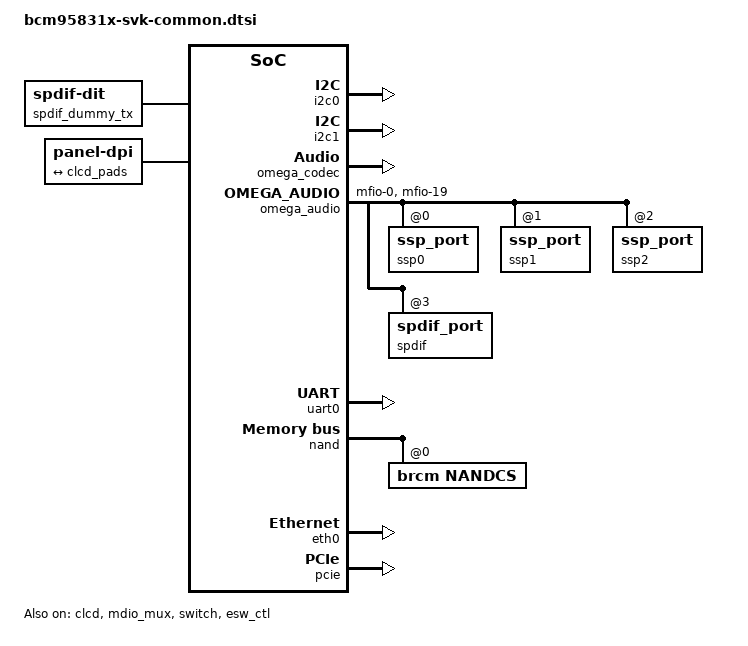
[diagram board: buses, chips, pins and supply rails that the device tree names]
// SPDX-License-Identifier: (GPL-2.0 or BSD-3-Clause)
/*
 *  Copyright(c) 2018 Broadcom
 */
#include "bcmlcddc.dtsi"

/ {
	sound {
		compatible = "brcm,omega-svk-machine";
		status = "okay";

		brcm,audio-routing =
			/* Outputs */
			"SVK Handsfree", "LSPK_OUT",
			"SVK Handset Earpiece", "EP_OUT",
			"SVK Headset Speaker", "EP_OUT2",
			"SVK Headphone jack", "HS_OUT_L",
			"SVK Headphone jack", "HS_OUT_R",

			/* Inputs */
			"AMIC1", "SVK Analog Mic1",
			"AUXMIC1", "SVK Analog Mic2",
			"AMIC3",  "SVK Analog Mic3",
			"DMIC1", "SVK Digital Mic1",
			"DMIC2", "SVK Digital Mic2",
			"DMIC3", "SVK Digital Mic3",
			"DMIC4", "SVK Digital Mic4";

		link0 {
			format = "i2s";
			bitclock-master = <&dailink0_master>;
			frame-master = <&dailink0_master>;

			dailink0_master: cpu {
				sound-dai = <&omega_audio 0>;
			};

			codec {
				sound-dai = <&bcm_dummy_codec>;
			};
		};

		link1 {
			format = "i2s";
			bitclock-master = <&dailink1_master>;
			frame-master = <&dailink1_master>;

			dailink1_master: cpu {
				sound-dai = <&omega_audio 1>;
			};

			codec {
				sound-dai = <&bcm_dummy_codec>;
			};
		};

		link2 {
			format = "dsp_a";
			bitclock-master = <&dailink2_master>;
			frame-master = <&dailink2_master>;

			brcm,transfer_mode = <1>;
			brcm,slave_mode = <1>;
			brcm,tdm_framesize = <256>;
			brcm,slot_size = <32>;

			cpu {
				sound-dai = <&omega_audio 2>;
			};

			dailink2_master: codec {
				sound-dai = <&omega_codec 0>;
			};
		};

		link3 {
			format = "i2s";
			bitclock-master = <&dailink3_master>;
			frame-master = <&dailink3_master>;

			dailink3_master: cpu {
				sound-dai = <&omega_audio 3>;
			};

			codec {
				sound-dai = <&spdif_dummy_tx>;
			};
		};
	};

	bcm_dummy_codec: dummy_codec {
		#sound-dai-cells = <0>;
		status = "okay";
		compatible = "brcm,dummy_codec";
	};

	/* dummy codec to model spdif tx */
	spdif_dummy_tx: spdif_tx {
		#sound-dai-cells = <0>;
		status = "okay";
		compatible = "linux,spdif-dit";
	};
};

&i2c0 {
	status = "okay";

	pinctrl-names = "default";
	pinctrl-0 = <&i2c0_mfio043_pins>;
};

&i2c1 {
	status = "okay";

	pinctrl-names = "default";
	pinctrl-0 = <&i2c1_mfio045_pins>;
};

&omega_codec {
	status = "okay";

	pinctrl-names = "default";
	pinctrl-0 = <&digmic0_pins &digmic1_pins>;
};

&omega_audio {
	#sound-dai-cells = <1>;

	pinctrl-names = "default";
	pinctrl-0 = <&i2s0_pins &i2s1_mfio070_pins
		     &i2s0_pad_ctrl &i2s1_mfio70_pad_ctrl>;

	assigned-clocks = <&audiopll_1 BCM_OMEGA_AUDIOPLL>,
			  <&ssp0_clock>,
			  <&ssp1_clock>,
			  <&ssp2_clock>,
			  <&spdiftx_clock>;
	assigned-clock-rates = <3612672000>;
	assigned-clock-parents = <0>,
				 <&audiopll_1 BCM_OMEGA_AUDIOPLL_CH1>,
				 <&audiopll_1 BCM_OMEGA_AUDIOPLL_CH2>,
				 <&audiopll_1 BCM_OMEGA_AUDIOPLL_CH3>,
				 <&audiopll_1 BCM_OMEGA_AUDIOPLL_CH4>;

	ssp0: ssp_port@0 {
		status = "okay";
	};

	ssp1: ssp_port@1 {
		status = "okay";
	};

	ssp2: ssp_port@2 {
		status = "okay";
	};

	spdif: spdif_port@3 {
		status = "okay";
	};
};

&uart0 {
	clock-frequency = <25000000>;
	status = "okay";
};

&nand {
	nandcs@0 {
		compatible = "brcm,nandcs";
		reg = <0>;
		nand-ecc-mode = "hw";
		nand-ecc-strength = <8>;
		nand-ecc-step-size = <512>;
		nand-bus-width = <8>;
		brcm,nand-oob-sector-size = <16>;
		#address-cells = <1>;
		#size-cells = <1>;
	};
};

&clcd {
	status = "okay";
	pinctrl-names = "default";
	pinctrl-0 = <&lcd_24bit_pins>;
	port {
		clcd_pads: endpoint {
			remote-endpoint = <&clcd_panel>;
			arm,pl11x,tft-r0g0b0-pads = <0 8 16>;
		};
	};

	panel {
		compatible = "panel-dpi";
		port {
			clcd_panel: endpoint {
				remote-endpoint = <&clcd_pads>;
			};
		};
	};
};

&mdio_mux {
	status = "okay";
};

&eth0 {
	status = "okay";
};

&switch {
	status = "okay";
	ports {
		#address-cells = <1>;
		#size-cells = <0>;
		port@0 {
			reg = <0>;
			label = "lan";
			phy-handle = <&gphy0>;
			phy-mode = "gmii";
		};
		port@1 {
			reg = <1>;
			label = "pc";
			phy-handle = <&gphy1>;
			phy-mode = "gmii";
		};
	};
};

&esw_ctl {
	status = "okay";
};

&gpio_east {
	/*
	 * East controller starts at 51, so add 51 get real mfio pin.
	 * Set drive strength to max for SCLK pin on port 0 and 1.
	 * On the SVK design the switches and the length of the SCLK
	 * trace are creating clock edge issue (bit errors). We need
	 * to increase the drive strength to over overcome thes issues.
	 */
	i2s0_pad_ctrl: i2s0_pad {
		pins = "mfio-0";
		drive-strength = <16>;
	};

	i2s1_mfio70_pad_ctrl: i2s1_mfio70_pad {
		pins = "mfio-19";
		drive-strength = <16>;
	};
};

&pcie {
	status = "okay";
};
